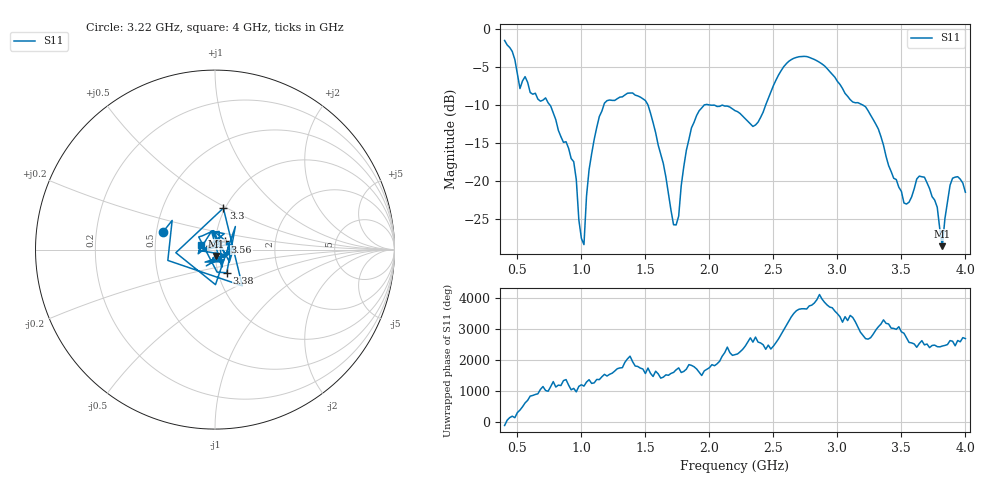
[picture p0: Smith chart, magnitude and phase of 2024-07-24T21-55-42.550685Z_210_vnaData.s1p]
!Created with skrf (http://scikit-rf.org).
# Hz S RI R 50.0
!freq ReS11 ImS11
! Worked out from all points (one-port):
!   181 points, 400 MHz to 4 GHz, reference 50 ohm
!   lowest |S11| = -28.6 dB at 3.82 GHz (marker M1), VSWR 1.08, Z = 50.7 - j3.67 ohm
!   |S11| at or under -10 dB: 1.519 GHz to 1.966 GHz (446.4 MHz wide, 25.6 % of centre); 1.992 GHz to 2.44 GHz (448.3 MHz wide, 20.2 % of centre); 3.194 GHz to end of sweep (the widest 3 of 4)
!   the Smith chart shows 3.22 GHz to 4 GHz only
!   S11 on the Smith chart (normalised r, x): 3.22 GHz: 0.54, +0.12; 3.3 GHz: 0.98, +0.48; 3.38 GHz: 1.10, -0.29; 3.56 GHz: 1.11, +0.10; 4 GHz: 0.85, +0.04
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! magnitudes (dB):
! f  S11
! 400 MHz  -1.5
! 520 MHz  -7.9
! 720 MHz  -9.1
! 860 MHz  -14.9
! 940 MHz  -17.5
! 980 MHz  -25.2
! 1.02 GHz  -28.4
! 1.06 GHz  -18.5
! 1.14 GHz  -11.6
! 1.3 GHz  -9.0
! 1.52 GHz  -10.0
! 1.72 GHz  -25.8
! 1.76 GHz  -24.7
! 1.82 GHz  -16.0
! 1.9 GHz  -11.4
! 2.2 GHz  -10.8
! 2.36 GHz  -12.7
! 2.66 GHz  -3.9
! 3.1 GHz  -9.3
! 3.22 GHz  -10.3
! 3.3 GHz  -12.6
! 3.38 GHz  -16.8
! 3.56 GHz  -22.8
! 3.68 GHz  -19.5
! 3.78 GHz  -23.5
! 3.82 GHz  -28.6
! 3.9 GHz  -19.7
! 4 GHz  -21.5
